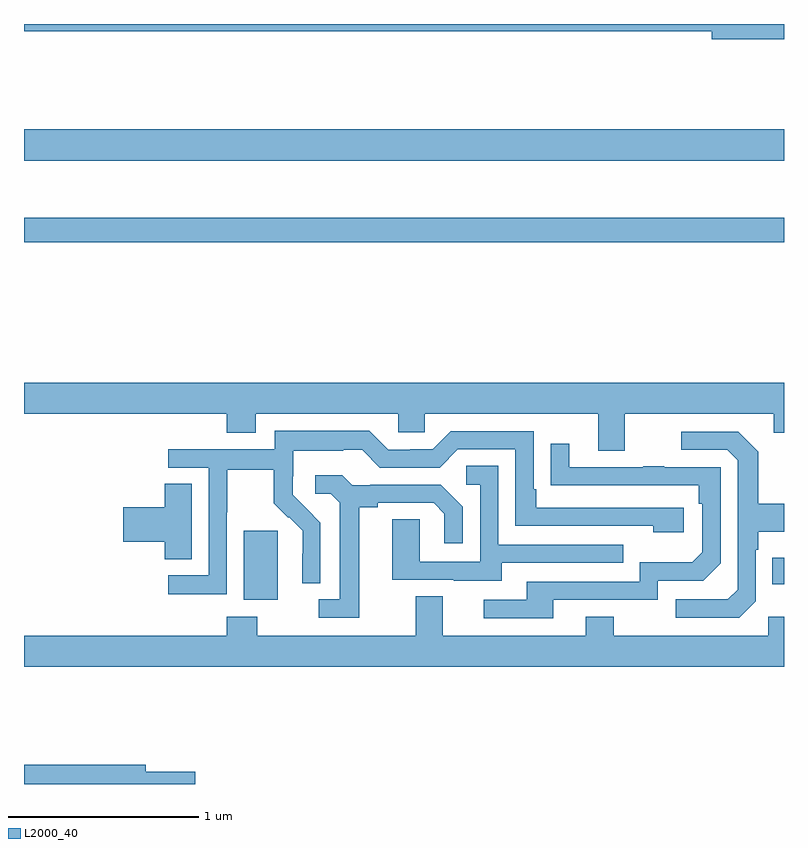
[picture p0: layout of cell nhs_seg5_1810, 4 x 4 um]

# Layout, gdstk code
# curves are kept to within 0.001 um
import gdstk
lib = gdstk.Library(unit=1e-6, precision=1e-09)
def R(c, l, rs):  # rectangles x0, y0, x1, y1
    for r in rs: c.add(gdstk.rectangle(r[:2], r[2:], *l))
def P(c, l, *ps):  # polygons
    for p in ps: c.add(gdstk.Polygon(p, *l))
L2000_40 = (2000, 40)

nhs_seg5_1810 = lib.new_cell('nhs_seg5_1810')
R(nhs_seg5_1810, L2000_40, [(220.157,867.77,220.336,868.131), (222.937,867.851,223,867.991), (219,869.65,223,869.779), (219,870.08,223,870.244)])
P(nhs_seg5_1810, L2000_40, [(223,870.799),(219,870.799),(219,870.76),(222.62,870.76),(222.62,870.718),(223,870.718)],
  [(222.163,868.748),(222.947,868.748),(222.947,868.649),(223,868.649),(223,868.912),(219,868.912),(219,868.748),(220.067,868.748),(220.067,868.649),(220.219,868.649),(220.219,868.748),(220.971,868.748),(220.971,868.65),(221.109,868.65),(221.109,868.748),(222.023,868.748),(222.023,868.554),(222.163,868.554)],
  [(220.068,868.228),(220.071,868.228),(220.071,868.452),(220.315,868.452),(220.315,868.277),(220.392,868.2),(220.395,868.203),(220.466,868.133),(220.466,868.01),(220.464,868.01),(220.464,867.856),(220.56,867.856),(220.56,868.174),(220.414,868.322),(220.414,868.419),(220.416,868.419),(220.416,868.553),(220.679,868.553),(220.679,868.557),(220.779,868.557),(220.872,868.464),(221.187,868.464),(221.283,868.56),(221.586,868.56),(221.586,868.158),(222.311,868.158),(222.311,868.124),(222.472,868.124),(222.472,868.254),(221.695,868.254),(221.695,868.351),(221.682,868.351),(221.682,868.656),(221.247,868.656),(221.151,868.56),(221.033,868.56),(221.033,868.557),(220.917,868.557),(220.817,868.657),(220.32,868.657),(220.32,868.56),(219.759,868.56),(219.759,868.464),(219.972,868.464),(219.972,867.897),(219.759,867.897),(219.759,867.799),(220.068,867.799)],
  [(222.852,867.762),(222.852,868.031),(222.865,868.031),(222.865,868.127),(223,868.127),(223,868.275),(222.865,868.275),(222.865,868.547),(222.759,868.653),(222.459,868.653),(222.459,868.557),(222.702,868.557),(222.756,868.503),(222.756,867.822),(222.705,867.771),(222.429,867.771),(222.429,867.675),(222.765,867.675)],
  [(221.785,867.768),(222.336,867.768),(222.336,867.87),(222.576,867.87),(222.666,867.96),(222.666,868.467),(222.371,868.467),(222.371,868.472),(222.259,868.472),(222.259,868.467),(221.869,868.467),(221.869,868.591),(221.773,868.591),(221.773,868.372),(222.55,868.371),(222.55,868.274),(222.57,868.274),(222.57,868.02),(222.517,867.967),(222.24,867.967),(222.24,867.864),(221.645,867.864),(221.645,867.768),(221.421,867.768),(221.421,867.672),(221.785,867.672)],
  [(221.515,867.963),(222.155,867.963),(222.155,868.059),(221.496,868.059),(221.496,868.475),(221.328,868.475),(221.328,868.374),(221.4,868.374),(221.4,867.969),(221.082,867.969),(221.082,868.193),(220.937,868.193),(220.937,867.873),(221.261,867.873),(221.261,867.869),(221.515,867.869)],
  [(220.765,868.256),(220.861,868.256),(220.861,868.278),(221.156,868.278),(221.213,868.221),(221.213,868.065),(221.31,868.065),(221.31,868.258),(221.194,868.374),(220.822,868.374),(220.822,868.371),(220.728,868.371),(220.676,868.423),(220.533,868.423),(220.533,868.326),(220.614,868.326),(220.661,868.279),(220.661,867.771),(220.551,867.771),(220.551,867.675),(220.765,867.675)],
  [(219.883,868.379),(219.74,868.379),(219.74,868.256),(219.522,868.256),(219.522,868.073),(219.74,868.073),(219.74,867.982),(219.883,867.982)],
  [(223,867.679),(222.918,867.679),(222.918,867.58),(222.105,867.58),(222.105,867.679),(221.957,867.679),(221.957,867.58),(221.203,867.58),(221.203,867.788),(221.063,867.788),(221.063,867.58),(220.227,867.58),(220.227,867.679),(220.067,867.679),(220.067,867.58),(219,867.58),(219,867.416),(223,867.416)],
  [(219.901,866.864),(219.64,866.864),(219.64,866.9),(219,866.9),(219,866.799),(219.901,866.799)])

lib.write_gds('nhs_seg5_1810.gds')
